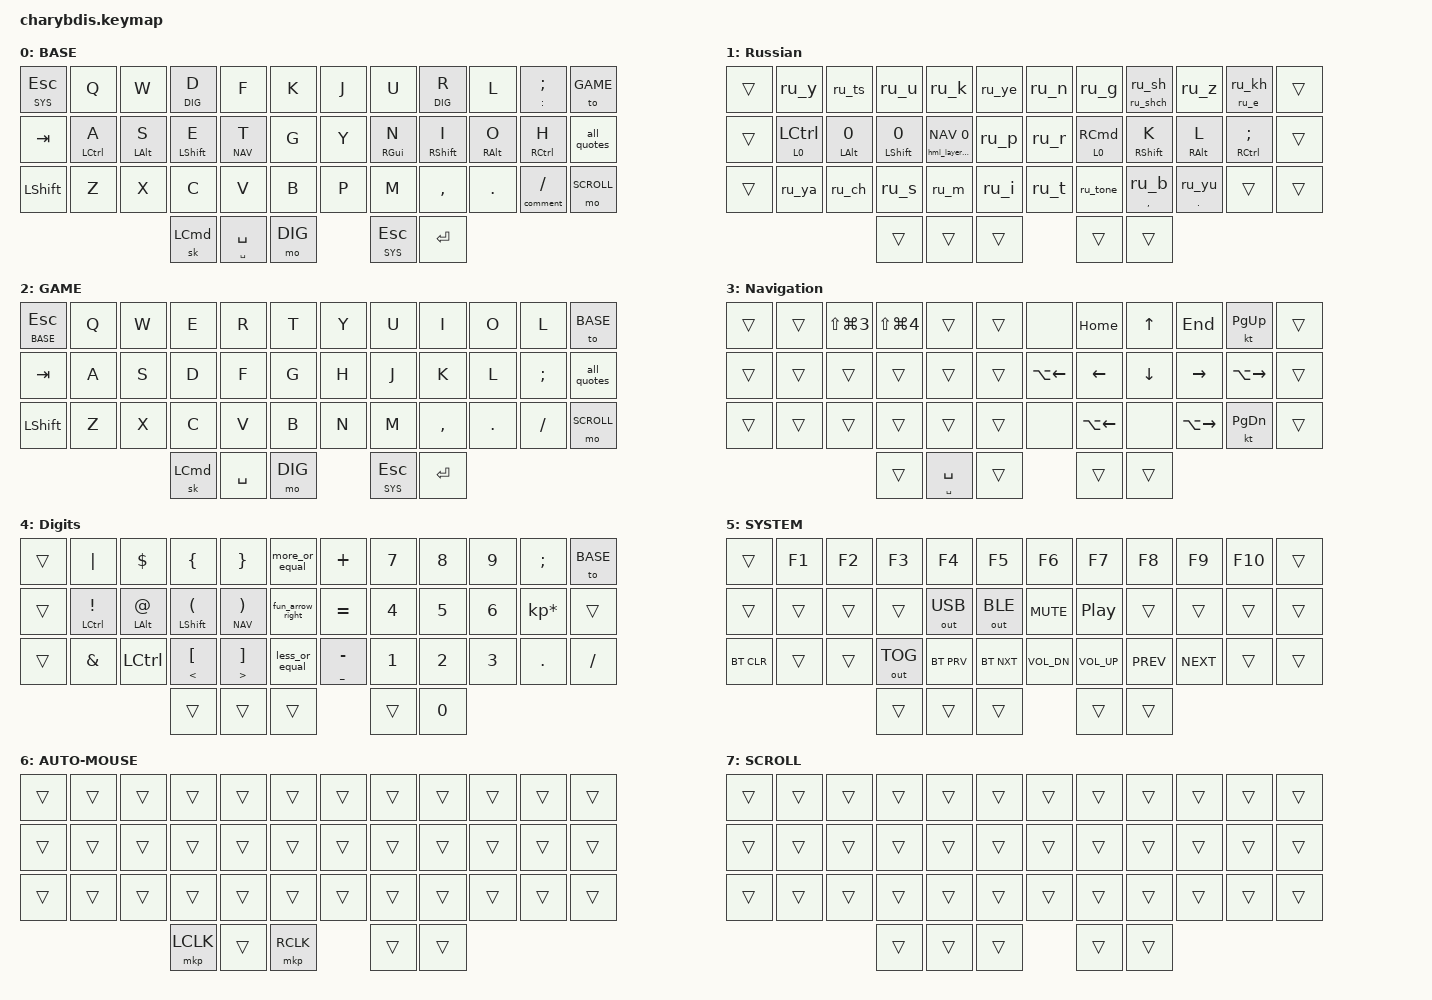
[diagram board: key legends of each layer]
#include <behaviors/mouse_keys.dtsi>
#include <behaviors.dtsi>
#include <dt-bindings/zmk/bt.h>
#include <dt-bindings/zmk/keys.h>
#include <dt-bindings/zmk/mouse.h>
#include <dt-bindings/zmk/outputs.h>

#define HOST_OS 2

#include "zmk-helpers/helper.h"
#include "zmk-helpers/key-labels/42.h"
#include "zmk-helpers/unicode-chars/russian.dtsi"

/*                                      42 KEY MATRIX / LAYOUT MAPPING

  ╭────────────────────────┬────────────────────────╮ ╭─────────────────────────┬─────────────────────────╮
  │  0   1   2   3   4   5 │  6   7   8   9  10  11 │ │ LT5 LT4 LT3 LT2 LT1 LT0 │ RT0 RT1 RT2 RT3 RT4 RT5 │
  │ 12  13  14  15  16  17 │ 18  19  20  21  22  23 │ │ LM5 LM4 LM3 LM2 LM1 LM0 │ RM0 RM1 RM2 RM3 RM4 RM5 │
  │ 24  25  26  27  28  29 │ 30  31  32  33  34  35 │ │ LB5 LB4 LB3 LB2 LB1 LB0 │ RB0 RB1 RB2 RB3 RB4 RB5 │
  ╰───────────╮ 36  37  38 │ 39  40  41 ╭───────────╯ ╰───────────╮ LH2 LH1 LH0 │ RH0 RH1 RH2 ╭───────────╯
              ╰────────────┴────────────╯                         ╰─────────────┴─────────────╯             */

#define XXX &none
#define ___ &trans

#define BASE 0
#define RUS  1
#define GAME 2
#define NAV  3
#define DIG  4
#define SYS  5
#define MOUSE  6
#define SCROLL 7

#define QUICK_TAP_MS 175

#define KEYS_L LT0 LT1 LT2 LT3 LT4 LM0 LM1 LM2 LM3 LM4 LB0 LB1 LB2 LB3 LB4 LB5  // left hand
#define KEYS_R RT0 RT1 RT2 RT3 RT4 RM0 RM1 RM2 RM3 RM4 RB0 RB1 RB2 RB3 RB4 RB5  // right hand
#define THUMBS LH2 LH1 LH0 RH0 RH1 // thumb cluster for both hands

#define MAKE_HRM(NAME, HOLD, TAP, TRIGGER_POS) \
    ZMK_HOLD_TAP(NAME, \
        flavor = "balanced"; \
        tapping-term-ms = <280>; \
        quick-tap-ms = <QUICK_TAP_MS>; \
        require-prior-idle-ms = <150>; \
        bindings = <HOLD>, <TAP>; \
        hold-trigger-key-positions = <TRIGGER_POS>; \
        hold-trigger-on-release; \
    )

MAKE_HRM(hml, &kp, &kp, KEYS_R THUMBS)  // left-hand HRMs
MAKE_HRM(hmr, &kp, &kp, KEYS_L THUMBS)  // right-hand HRMs
MAKE_HRM(hml_layer, &mo, &kp, KEYS_R THUMBS) // switch layer like HRM

// left russian home row
//MAKE_HRM(hml_ctrl, &kp, &ru_f, KEYS_R THUMBS)
MAKE_HRM(hml_ctrl, &lm, &ru_f, KEYS_R THUMBS)
MAKE_HRM(hml_opt, &kp, &ru_bi, KEYS_R THUMBS)
MAKE_HRM(hml_shift, &kp, &ru_v, KEYS_R THUMBS)
MAKE_HRM(hml_layer_ru, &mo, &ru_a, KEYS_R THUMBS)


// right russian home row
MAKE_HRM(hmr_ctrl, &kp, &ru_zh, KEYS_L THUMBS)
MAKE_HRM(hmr_opt, &kp, &ru_d, KEYS_L THUMBS)
MAKE_HRM(hmr_shift, &kp, &ru_l, KEYS_L THUMBS)
MAKE_HRM(hmr_cmd, &lm, &ru_o, KEYS_L THUMBS)

/ {
    chosen { zmk,matrix_transform = &default_transform; };
};

&sk {  // sticky-key config
    release-after-ms = <900>;  // release after 0.9s
    quick-release;             // no double capitalization when rolling keys
};

&sl {  // sticky-layer config
    ignore-modifiers;          // allow chording sticky mods & layers
};

&lt {  // layer-tap config
    flavor = "balanced";
    tapping-term-ms = <200>;
    quick-tap-ms = <QUICK_TAP_MS>;
};

/ {
    behaviors {
        hm: homerow_mod {
            compatible = "zmk,behavior-hold-tap";
            #binding-cells = <2>;
            flavor = "tap-preferred";
            tapping-term-ms = <250>;
            quick-tap-ms = <150>;
            require-prior-idle-ms = <125>;
            bindings = <&kp>, <&kp>;
        };

        tdtb: td_mouse_scroll {
            compatible = "zmk,behavior-tap-dance";
            #binding-cells = <0>;
            bindings = <&httl 9 7>, <&to 0>;
            tapping-term-ms = <200>;
        };

        tdtb2: td_slow_scroll {
            compatible = "zmk,behavior-tap-dance";
            #binding-cells = <0>;
            bindings = <&httl 9 0>, <&to 8>;
        };

        httl: ht_two_layers {
            compatible = "zmk,behavior-hold-tap";
            bindings = <&mo>, <&to>;

            #binding-cells = <2>;
            flavor = "balanced";
            tapping-term-ms = <200>;
        };

        td_bore: BASE_or_EXTRA {
            compatible = "zmk,behavior-tap-dance";
            #binding-cells = <0>;
            bindings = <&mo 6>, <&to 0>;
        };

        comment_or: comment_or {
            compatible = "zmk,behavior-hold-tap";
            label = "slash_or_comm";
            bindings = <&comment>, <&kp>;

            #binding-cells = <2>;
            tapping-term-ms = <200>;
            flavor = "tap-preferred";
        };

        ru_sh_or_shch: ru_sh_or_shch {
            compatible = "zmk,behavior-hold-tap";
            label = "RU_SH_OR_SHCH";
            bindings = <&ru_shch>, <&ru_sh>;

            #binding-cells = <2>;
            tapping-term-ms = <200>;
            flavor = "tap-preferred";
        };

        ru_b_or: ru_b_or {
            compatible = "zmk,behavior-hold-tap";
            label = "RU_B_OR_COMA";
            bindings = <&kp>, <&ru_b>;

            #binding-cells = <2>;
            tapping-term-ms = <200>;
            flavor = "tap-preferred";
        };

        ru_yu_or: ru_yu_or {
            compatible = "zmk,behavior-hold-tap";
            label = "RU_YU_OR_DOT";
            bindings = <&kp>, <&ru_yu>;

            #binding-cells = <2>;
            tapping-term-ms = <200>;
            flavor = "tap-preferred";
        };

        ru_kh_or_e: ru_kh_or_e {
            compatible = "zmk,behavior-hold-tap";
            label = "RU_KH_OR_E";
            bindings = <&ru_e>, <&ru_kh>;

            #binding-cells = <2>;
            tapping-term-ms = <200>;
            flavor = "tap-preferred";
        };

        all_quotes: all_quotes {
            compatible = "zmk,behavior-tap-dance";
            #binding-cells = <0>;
            tapping-term-ms = <200>;
            bindings = <&mt GRAVE SQT>, <&kp DOUBLE_QUOTES>;
        };

        space_or_super: space_or_super {
            compatible = "zmk,behavior-hold-tap";
            #binding-cells = <2>;
            flavor = "tap-preferred";
            tapping-term-ms = <250>;
            quick-tap-ms = <150>;
            require-prior-idle-ms = <125>;
            bindings = <&super>, <&kp>;
        };
    };

    macros {
        /**
         * Temporarily switches to a layer (`&mo`) while a modifier is held.
         * Analogous to QMK's `LM()`, using a parameterized macro.
         *
         * Params:
         *  1. Layer to switch to
         *  2. Modifier to press while layer is active
         *
         * Example:
         *  `&lm NUM_LAYER LSHIFT`
         */
        lm: lm {
            compatible = "zmk,behavior-macro-two-param";
            wait-ms = <0>;
            tap-ms = <0>;
            #binding-cells = <2>;
            bindings =
                <&macro_param_1to1>,
                <&macro_press>,
                <&mo MACRO_PLACEHOLDER &macro_param_2to1>,
                <&macro_press>,
                <&kp MACRO_PLACEHOLDER>,
                <&macro_pause_for_release>,
                <&macro_param_2to1>,
                <&macro_release>,
                <&kp MACRO_PLACEHOLDER &macro_param_1to1>,
                <&macro_release>,
                <&mo MACRO_PLACEHOLDER>;
        };

        press_two_keys: press_two_keys {
            compatible = "zmk,behavior-macro-two-param";
            wait-ms = <0>;
            tap-ms = <0>;
            #binding-cells = <2>;
            bindings =
                <&macro_param_1to1>,
                <&macro_tap>,
                <&kp MACRO_PLACEHOLDER &macro_param_2to1>,
                <&macro_tap>,
                <&kp MACRO_PLACEHOLDER>;
        };

        super: super {
            compatible = "zmk,behavior-macro";
            #binding-cells = <0>;
            bindings
                = <&macro_press &kp LGUI>
                , <&macro_press &kp LALT>
                , <&macro_press &kp LCTL>
                , <&macro_pause_for_release>
                , <&macro_release &kp LGUI>
                , <&macro_release &kp LALT>
                , <&macro_release &kp LCTL>
                ;
        };

        more_or_equal: more_or_equal {
            compatible = "zmk,behavior-macro";
            #binding-cells = <0>;
            bindings = <&kp MINUS &kp GT>;
            label = "MORE_OR_EQUAL";
        };

        less_or_equal: less_or_equal {
            compatible = "zmk,behavior-macro";
            #binding-cells = <0>;
            bindings = <&kp LT &kp EQUAL>;
            label = "LESS_OR_EQUAL";
        };

        fun_arrow_right: fun_arrow_right {
            compatible = "zmk,behavior-macro";
            #binding-cells = <0>;
            bindings = <&kp MINUS &kp GT>;
            label = "FUN_ARROW_RIGHT";
        };

        comment: comment {
            compatible = "zmk,behavior-macro";
            #binding-cells = <0>;
            bindings = <&kp FSLH &kp STAR>;
            label = "MACROS_COMMENT";
        };

        to_russian: to_russian {
            compatible = "zmk,behavior-macro";
            #binding-cells = <0>;
            bindings = <&to RUS &kp LA(LG(LC(F)))>;
            label = "TO_RUSSIAN";
        };

        to_eng: to_eng {
            compatible = "zmk,behavior-macro";
            #binding-cells = <0>;
            bindings = <&to BASE &kp LC(LA(LG(D)))>;
            label = "TO_ENG";
        };
    };

    combos {
        compatible = "zmk,combos";

        backspace {
            bindings = <&kp BACKSPACE>;
            key-positions = <RM1 RM2>;
            timeout-ms = <50>;
            require-prior-idle-ms = <50>;
        };

        opt_backspace {
            bindings = <&kp LA(BACKSPACE)>;
            key-positions = <RM1 RM2 RM3>;
            timeout-ms = <70>;
            require-prior-idle-ms = <100>;
        };

        shift {
            bindings = <&sk LEFT_SHIFT>;
            key-positions = <LM2 LM1>;
            timeout-ms = <50>;
            require-prior-idle-ms = <150>;
        };

        caps_lock {
            bindings = <&caps_word>;
            key-positions = <LM3 LM2 LM1>;
            timeout-ms = <100>;
            require-prior-idle-ms = <150>;
        };

        combo_to_rus {
            bindings = <&to_russian>;
            key-positions = <RT3 RT4>;
            timeout-ms = <250>;
            require-prior-idle-ms = <200>;
        };

        combo_to_eng {
            bindings = <&to_eng>;
            key-positions = <LT4 LT3>;
            timeout-ms = <250>;
            require-prior-idle-ms = <200>;
        };

        combo_to_game {
            bindings = <&to GAME>;
            key-positions = <LT5 LB5>;
            timeout-ms = <250>;
            require-prior-idle-ms = <200>;
        };

    };



    keymap {
        compatible = "zmk,keymap";

        BASE {
            bindings = <
// ╭────────────────┬──────────────┬─────────────────────────┬─────────────────────────────┬──────────────────┬──────────────╮  ╭──────────────┬─────────────────┬──────────────────────────────────┬──────────────────────────────┬────────────────────────┬─────────╮
    &lt SYS ESC       &kp Q          &kp W                     &lt DIG D                     &kp F              &kp K             &kp J          &kp U             &lt DIG R                          &kp L                          &mt COLON SEMICOLON      &to GAME
// ├────────────────┼──────────────┼─────────────────────────┼─────────────────────────────┼──────────────────┼──────────────┤  ├──────────────┼─────────────────┼──────────────────────────────────┼──────────────────────────────┼────────────────────────┼─────────┤
    &kp TAB           &hml LCTRL A   &hml LALT S               &hml LSHFT E                  &hml_layer NAV T   &kp G             &kp Y          &hmr RIGHT_GUI N  &hmr RSHFT I                       &hmr RIGHT_ALT O               &hmr RIGHT_CONTROL H     &all_quotes
// ├────────────────┼──────────────┼─────────────────────────┼─────────────────────────────┼──────────────────┼──────────────┤  ├──────────────┼─────────────────┼──────────────────────────────────┼──────────────────────────────┼────────────────────────┼─────────┤
    &kp LSHFT         &kp Z          &kp X                     &kp C                         &kp V              &kp B             &kp P          &kp M             &kp COMMA                          &kp DOT                        &comment_or 0 SLASH      &mo SCROLL
// ╰────────────────┴──────────────┴─────────────────────────┼─────────────────────────────┼──────────────────┼──────────────┤  ├──────────────┼─────────────────┼──────────────────────────────────┴──────────────────────────────┴────────────────────────┴─────────╯
                                                               &sk LEFT_COMMAND              &space_or_super SPACE SPACE &mo DIG           &lt SYS ESC    &kp RET
//                                                           ╰─────────────────────────────┴──────────────────┴──────────────╯  ╰──────────────┴─────────────────╯
            >;
        };

/*
           й  ц  у  к  е     н  г   шщ  з  хэ
           ф! ы! в! а! п     р  о!  л!  д! ж!
           я  ч  с  м  и     т  ьъ  б,  ю. /*
*/

        rus {
            label = "Russian";
            bindings = <
// ╭────────────────┬───────────────────┬─────────────────┬───────────────────┬──────────────────────┬─────────────╮     ╭─────────────┬──────────────────────────┬───────────────────────┬───────────────────────┬───────────────────────────────────┬─────────╮
     ___              &ru_y               &ru_ts            &ru_u               &ru_k                  &ru_ye              &ru_n         &ru_g                      &ru_sh_or_shch 0 0      &ru_z                   &ru_kh_or_e 0 0                     ___
// ├────────────────┼───────────────────┼─────────────────┼───────────────────┼──────────────────────┼─────────────┤     ├─────────────┼──────────────────────────┼───────────────────────┼───────────────────────┼───────────────────────────────────┼─────────┤
     ___              &hml_ctrl 0 LCTRL   &hml_opt LALT 0   &hml_shift LSHFT 0  &hml_layer_ru NAV 0    &ru_p               &ru_r         &hmr_cmd 0 RIGHT_COMMAND   &hmr_shift RSHFT K      &hmr_opt RIGHT_ALT L    &hmr_ctrl RIGHT_CONTROL SEMICOLON   ___
// ├────────────────┼───────────────────┼─────────────────┼───────────────────┼──────────────────────┼─────────────┤     ├─────────────┼──────────────────────────┼───────────────────────┼───────────────────────┼───────────────────────────────────┼─────────┤
     ___              &ru_ya              &ru_ch            &ru_s               &ru_m                  &ru_i               &ru_t         &ru_tone                   &ru_b_or COMMA 0        &ru_yu_or DOT 0         ___                                 ___
// ╰────────────────┴───────────────────┴─────────────────┼───────────────────┼──────────────────────┼─────────────┤     ├─────────────┼──────────────────────────┼───────────────────────┼───────────────────────┴───────────────────────────────────┴─────────╯
                                                            ___                 ___                    ___                 ___           ___
//                                                        ╰───────────────────┴──────────────────────┴─────────────╯     ╰─────────────┴──────────────────────────╯
            >;
        };

        GAME {
            bindings = <
// ╭────────────────┬──────────────┬─────────────────────────┬─────────────────────────────┬──────────────────┬──────────────╮  ╭──────────────┬─────────────────┬──────────────────────────────────┬──────────────────────────────┬────────────────────────┬─────────╮
    &lt BASE ESC       &kp Q          &kp W                     &kp E                         &kp R              &kp T             &kp Y          &kp U             &kp I                              &kp O                          &kp L                   &to BASE
// ├────────────────┼──────────────┼─────────────────────────┼─────────────────────────────┼──────────────────┼──────────────┤  ├──────────────┼─────────────────┼──────────────────────────────────┼──────────────────────────────┼────────────────────────┼─────────┤
    &kp TAB           &kp A          &kp S                     &kp D                         &kp F              &kp G             &kp H          &kp J             &kp K                              &kp L                         &kp SEMICOLON            &all_quotes
// ├────────────────┼──────────────┼─────────────────────────┼─────────────────────────────┼──────────────────┼──────────────┤  ├──────────────┼─────────────────┼──────────────────────────────────┼──────────────────────────────┼────────────────────────┼─────────┤
    &kp LSHFT         &kp Z          &kp X                     &kp C                         &kp V              &kp B             &kp N          &kp M             &kp COMMA                          &kp DOT                        &kp SLASH               &mo SCROLL
// ╰────────────────┴──────────────┴─────────────────────────┼─────────────────────────────┼──────────────────┼──────────────┤  ├──────────────┼─────────────────┼──────────────────────────────────┴──────────────────────────────┴────────────────────────┴─────────╯
                                                               &sk LEFT_COMMAND              &kp SPACE          &mo DIG           &lt SYS ESC    &kp RET
//                                                           ╰─────────────────────────────┴──────────────────┴──────────────╯  ╰──────────────┴─────────────────╯
            >;
        };

        Navigation {
            label = "Navigation";
            bindings = <
// ╭────────────────┬──────────────┬───────────────────────┬──────────────────────┬───────────────────┬─────────────╮        ╭─────────────┬──────────────────┬──────────────┬──────────────────┬──────────────────────┬─────────╮
     ___              ___            &kp LS(LG(NUMBER_3))    &kp LS(LG(NUMBER_4))   ___                 ___                    &none         &kp HOME           &kp UP         &kp END            &kt PAGE_UP            ___
// ├────────────────┼──────────────┼───────────────────────┼──────────────────────┼───────────────────┼─────────────┤        ├─────────────┼──────────────────┼──────────────┼──────────────────┼──────────────────────┼─────────┤
     ___              ___            ___                     ___                    ___                 ___                    &kp LA(LEFT)  &kp LEFT           &kp DOWN       &kp RIGHT          &kp LA(RIGHT)          ___
// ├────────────────┼──────────────┼───────────────────────┼──────────────────────┼───────────────────┼─────────────┤        ├─────────────┼──────────────────┼──────────────┼──────────────────┼──────────────────────┼─────────┤
     ___              ___            ___                     ___                    ___                 ___                    &none         &kp LA(LEFT)       &none          &kp LA(RIGHT)      &kt PAGE_DOWN          ___
// ╰────────────────┴──────────────┴───────────────────────┼──────────────────────┼───────────────────┼─────────────┤        ├─────────────┼──────────────────┼──────────────┼──────────────────┴──────────────────────┴─────────╯
                                                             ___                    &space_or_super SPACE SPACE ___                    ___           ___
//                                                         ╰──────────────────────┴───────────────────┴─────────────╯        ╰─────────────┴──────────────────╯
            >;
        };


        digits {
            label = "Digits";
            bindings = <
// ╭────────────────┬────────────────────────┬──────────────────────┬────────────────────────────┬──────────────────────────────┬────────────────────────────────────╮        ╭────────────────┬──────────────────┬──────────────┬──────────────────┬──────────────────────┬─────────╮
     ___              &kp PIPE                 &kp DOLLAR             &kp LEFT_BRACE               &kp RIGHT_BRACE                &more_or_equal                                 &kp PLUS         &kp N7             &kp N8         &kp N9             &kp SEMICOLON         &to BASE
// ├────────────────┼────────────────────────┼──────────────────────┼────────────────────────────┼──────────────────────────────┼────────────────────────────────────┤        ├────────────────┼──────────────────┼──────────────┼──────────────────┼──────────────────────┼─────────┤
     ___              &hml LCTRL EXCLAMATION  &hml LEFT_ALT AT_SIGN   &hml LSHFT LEFT_PARENTHESIS  &lt NAV RIGHT_PARENTHESIS      &fun_arrow_right                               &kp EQUAL        &kp N4             &kp N5         &kp N6             &kp KP_MULTIPLY       ___
// ├────────────────┼────────────────────────┼──────────────────────┼────────────────────────────┼──────────────────────────────┼────────────────────────────────────┤        ├────────────────┼──────────────────┼──────────────┼──────────────────┼──────────────────────┼─────────┤
     ___              &kp AMPERSAND           &kp LCTRL              &mt LESS_THAN LEFT_BRACKET   &mt GREATER_THAN RIGHT_BRACKET  &less_or_equal                                 &mt UNDER MINUS  &kp N1             &kp N2         &kp N3             &kp PERIOD           &kp SLASH
// ╰────────────────┴────────────────────────┴──────────────────────┼────────────────────────────┼──────────────────────────────┼────────────────────────────────────┤        ├────────────────┼──────────────────┼──────────────┼──────────────────┴──────────────────────┴─────────╯
                                                                      ___                            ___                          ___                                            ___              &kp N0
//                                                                  ╰────────────────────────────┴──────────────────────────────┴────────────────────────────────────╯        ╰────────────────┴──────────────────╯
            >;
        };

         sim_layer {
             label = "SYSTEM";
             bindings = <
// ╭────────────────┬─────────┬─────────┬──────────────┬────────────┬─────────────╮        ╭─────────────┬──────────────┬────────────┬────────────┬──────────┬─────────╮
     ___              &kp F1    &kp F2    &kp F3         &kp F4       &kp F5                 &kp F6        &kp F7         &kp F8       &kp F9       &kp F10    ___
// ├────────────────┼─────────┼─────────┼──────────────┼────────────┼─────────────┤        ├─────────────┼──────────────┼────────────┼────────────┼──────────┼─────────┤
     ___              ___        ___       ___           &out OUT_USB &out OUT_BLE           &kp C_MUTE    &kp C_PP       ___          ___          ___       ___
// ├────────────────┼─────────┼─────────┼──────────────┼────────────┼─────────────┤        ├─────────────┼──────────────┼────────────┼────────────┼──────────┼─────────┤
     &bt BT_CLR       ___      ___        &out OUT_TOG   &bt BT_PRV   &bt BT_NXT             &kp C_VOL_DN  &kp C_VOL_UP   &kp C_PREV   &kp C_NEXT   ___        ___
 // ╰───────────────┴─────────┴─────────┼──────────────┼────────────┼─────────────┤        ├─────────────┼──────────────┼────────────┼────────────┴──────────┴──────────╯
                                           ___            ___          ___                    ___           ___
 //                                     ╰──────────────┴────────────┴─────────────╯        ╰─────────────┴──────────────╯
             >;
         };

        AUTO-MOUSE {
            bindings = <
&trans  &trans  &trans  &trans     &trans  &trans       &trans  &trans  &trans  &trans  &trans  &trans
&trans  &trans  &trans  &trans     &trans  &trans       &trans  &trans  &trans  &trans  &trans  &trans
&trans  &trans  &trans  &trans     &trans  &trans       &trans  &trans  &trans  &trans  &trans  &trans
                        &mkp LCLK  &trans  &mkp RCLK    &trans  &trans
            >;
        };

        SCROLL {
            bindings = <
&trans  &trans  &trans  &trans  &trans  &trans    &trans  &trans  &trans  &trans  &trans  &trans
&trans  &trans  &trans  &trans  &trans  &trans    &trans  &trans  &trans  &trans  &trans  &trans
&trans  &trans  &trans  &trans  &trans  &trans    &trans  &trans  &trans  &trans  &trans  &trans
                        &trans  &trans  &trans    &trans  &trans
            >;
        };
    };

};
